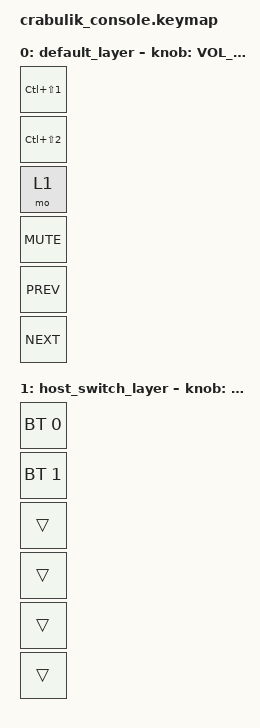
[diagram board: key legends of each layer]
#include <behaviors.dtsi>
#include <dt-bindings/zmk/keys.h>
#include <dt-bindings/zmk/bt.h>

/ {
    combos {
        compatible = "zmk,combos";

        /* All three buttons together = clear the current Bluetooth bond.
         * A 3-key combo is deliberate enough that normal layout switching
         * (one button at a time) can't trigger it by accident. */
        combo_bt_clr {
            timeout-ms = <50>;
            key-positions = <0 1 2>;
            bindings = <&bt BT_CLR>;
        };
    };

    keymap {
        compatible = "zmk,keymap";

        default_layer {
            bindings = <
                &kp LC(LS(N1))  /* Button 1: Ctrl+Shift+1 (US layout)            */
                &kp LC(LS(N2))  /* Button 2: Ctrl+Shift+2 (UA layout)            */
                &mo 1           /* Button 3: hold for the host-switch layer       */
                &kp C_MUTE      /* Button 4: EC11 push-click = mute               */
                &kp C_PREV      /* Button 5: previous track                       */
                &kp C_NEXT      /* Button 6: next track                           */
            >;

            /* 1st binding -> ec11_knob (volume), 2nd -> mouse wheel (switch tabs:
             * CW = Ctrl+Tab / next, CCW = Ctrl+Shift+Tab / prev). Order matches
             * the `sensors` node in the overlay. */
            sensor-bindings = <&inc_dec_kp C_VOL_UP C_VOL_DN>, <&inc_dec_kp LC(TAB) LC(LS(TAB))>;
        };

        /* Held while Button 3 is down. Lets the two layout buttons pick which
         * paired host (BLE profile) the keyboard is connected to — like a
         * Logitech Easy-Switch button. Pair each host on its own profile first
         * (hold Btn3 + tap the button for an empty profile, then pair). */
        host_switch_layer {
            bindings = <
                &bt BT_SEL 0    /* Hold Btn3 + Btn1: connect to host/profile 0   */
                &bt BT_SEL 1    /* Hold Btn3 + Btn2: connect to host/profile 1   */
                &trans          /* Button 3 itself (held to reach this layer)     */
                &trans          /* Button 4: EC11 push-click (unused on layer)    */
                &trans          /* Button 5: prev track (unused on layer)         */
                &trans          /* Button 6: next track (unused on layer)         */
            >;

            sensor-bindings = <&inc_dec_kp C_VOL_UP C_VOL_DN>, <&inc_dec_kp LC(TAB) LC(LS(TAB))>;
        };
    };
};
